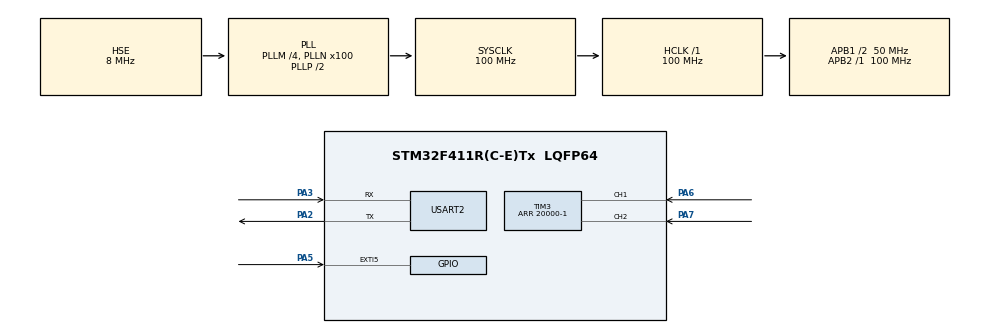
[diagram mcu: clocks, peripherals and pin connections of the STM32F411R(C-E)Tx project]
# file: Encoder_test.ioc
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Mcu.Family=STM32F4
Mcu.Name=STM32F411R(C-E)Tx
Mcu.Package=LQFP64
NVIC.EXTI9_5_IRQn=true\:0\:0\:false\:false\:true\:true\:true\:true
NVIC.PriorityGroup=NVIC_PRIORITYGROUP_4
NVIC.TIM3_IRQn=true\:0\:0\:false\:false\:true\:true\:true\:true
PA13.Mode=Serial_Wire
PA13.Signal=SYS_JTMS-SWDIO
PA14.Mode=Serial_Wire
PA14.Signal=SYS_JTCK-SWCLK
PA2.Mode=Asynchronous
PA2.Signal=USART2_TX
PA3.Mode=Asynchronous
PA3.Signal=USART2_RX
PA5.Signal=GPXTI5
PA6.Signal=S_TIM3_CH1
PA7.Signal=S_TIM3_CH2
PH0\ -\ OSC_IN.Mode=HSE-External-Oscillator
PH0\ -\ OSC_IN.Signal=RCC_OSC_IN
PH1\ -\ OSC_OUT.Mode=HSE-External-Oscillator
PH1\ -\ OSC_OUT.Signal=RCC_OSC_OUT
ProjectManager.HeapSize=0x200
ProjectManager.StackSize=0x400
ProjectManager.TargetToolchain=STM32CubeIDE
RCC.48MHZClocksFreq_Value=50000000
RCC.AHBFreq_Value=100000000
RCC.APB1CLKDivider=RCC_HCLK_DIV2
RCC.APB1Freq_Value=50000000
RCC.APB1TimFreq_Value=100000000
RCC.APB2Freq_Value=100000000
RCC.APB2TimFreq_Value=100000000
RCC.CortexFreq_Value=100000000
RCC.HCLKFreq_Value=100000000
RCC.HSE_VALUE=8000000
RCC.HSI_VALUE=16000000
RCC.LSE_VALUE=32768
RCC.PLLM=4
RCC.PLLN=100
RCC.PLLSourceVirtual=RCC_PLLSOURCE_HSE
RCC.SYSCLKFreq_VALUE=100000000
RCC.SYSCLKSource=RCC_SYSCLKSOURCE_PLLCLK
RCC.VCOOutputFreq_Value=200000000
SH.S_TIM3_CH1.0=TIM3_CH1,Encoder_Interface
SH.S_TIM3_CH2.0=TIM3_CH2,Encoder_Interface
TIM3.EncoderMode=TIM_ENCODERMODE_TI12
TIM3.IC1Filter=10
TIM3.IC1Polarity=TIM_ICPOLARITY_RISING
TIM3.IC2Polarity=TIM_ICPOLARITY_RISING
TIM3.Period=20000-1
USART2.VirtualMode=VM_ASYNC
board=custom

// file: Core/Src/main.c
/* USER CODE BEGIN Header */
/**
  ******************************************************************************
  * @file           : main.c
  * @brief          : Main program body
  ******************************************************************************
  * @attention
  *
  * Copyright (c) 2025 STMicroelectronics.
  * All rights reserved.
  *
  * This software is licensed under terms that can be found in the LICENSE file
  * in the root directory of this software component.
  * If no LICENSE file comes with this software, it is provided AS-IS.
  *
  ******************************************************************************
  */
/* USER CODE END Header */
#include "main.h"
#include "tim.h"
#include "usart.h"
#include "gpio.h"

/* USER CODE BEGIN PD */
#include <stdio.h>

//printf 사용하기 위한 코드

#ifdef __GNUC__
  /* GCC를 사용할 경우, 작은 printf(옵션 LD Linker->Libraries->Small printf를 'Yes'로 설정)에서 __io_putchar()를 호출 */
  #define PUTCHAR_PROTOTYPE int __io_putchar(int ch)
#else
  #define PUTCHAR_PROTOTYPE int fputc(int ch, FILE *f)
#endif /* __GNUC__ */

PUTCHAR_PROTOTYPE
{
  /* fputc의 구현을 여기에 작성. 문자를 쓰고 전송이 끝날 때까지 대기 */
  // uart2번을 사용했기 때문에 설정
  HAL_UART_Transmit(&huart2, (uint8_t *)&ch, 1, 0xFFFF);

  return ch;
}

// 엔코더의 최대 카운트 값
#define MAX_ENCODER_COUNT 19999

/* USER CODE END PD */

/* USER CODE BEGIN PV */

uint32_t initial_encoder_count = 0; // 초기 엔코더 위치
uint32_t current_encoder_count = 0; // 현재 엔코더 카운트 값
float angle = 0.0f;       // 계산된 각도

// 엔코더 카운트 값을 360도로 변환하는 함수
float calculate_angle(uint32_t current_count, uint32_t initial_count)
{
    // 카운트 차이 계산
    int32_t count_diff = current_count - initial_count;

    // 0에서 360도 범위로 변환
    // 카운트 차이를 MAX_ENCODER_COUNT로 나누어 360도를 곱함
    float angle = (float)count_diff / (float)MAX_ENCODER_COUNT * 360.0f;

    // 부호에 따라 범위 조정
    if (angle < 0)
    {
        angle += 360.0f;  // 360도 내로 값을 맞추기 위해 양수로 처리
    }

    return angle;
}

/* USER CODE END PV */

void SystemClock_Config(void);

int main(void)
{

  /* MCU Configuration--------------------------------------------------------*/

  /* Reset of all peripherals, Initializes the Flash interface and the Systick. */
  HAL_Init();

  /* Configure the system clock */
  SystemClock_Config();

  /* Initialize all configured peripherals */
  MX_GPIO_Init();
  MX_USART2_UART_Init();
  MX_TIM3_Init();
  /* USER CODE BEGIN 2 */
  HAL_TIM_Encoder_Start(&htim3, TIM_CHANNEL_ALL);
  /* USER CODE END 2 */

  /* Infinite loop */
  /* USER CODE BEGIN WHILE */
  while (1)
  {

      // 현재 엔코더 카운트 값 가져오기
      current_encoder_count = __HAL_TIM_GET_COUNTER(&htim3);

      // 각도 계산
      angle = calculate_angle(current_encoder_count, initial_encoder_count);

      // 계산된 각도 출력 (예시로 UART를 통해 출력)
      printf("Angle: %d\n", (int)angle);

      HAL_Delay(100); // 100ms 대기

    /* USER CODE END WHILE */

  }
}

void SystemClock_Config(void)
{
  RCC_OscInitTypeDef RCC_OscInitStruct = {0};
  RCC_ClkInitTypeDef RCC_ClkInitStruct = {0};

  /** Configure the main internal regulator output voltage
  */
  __HAL_RCC_PWR_CLK_ENABLE();
  __HAL_PWR_VOLTAGESCALING_CONFIG(PWR_REGULATOR_VOLTAGE_SCALE1);

  /** Initializes the RCC Oscillators according to the specified parameters
  * in the RCC_OscInitTypeDef structure.
  */
  RCC_OscInitStruct.OscillatorType = RCC_OSCILLATORTYPE_HSE;
  RCC_OscInitStruct.HSEState = RCC_HSE_ON;
  RCC_OscInitStruct.PLL.PLLState = RCC_PLL_ON;
  RCC_OscInitStruct.PLL.PLLSource = RCC_PLLSOURCE_HSE;
  RCC_OscInitStruct.PLL.PLLM = 4;
  RCC_OscInitStruct.PLL.PLLN = 100;
  RCC_OscInitStruct.PLL.PLLP = RCC_PLLP_DIV2;
  RCC_OscInitStruct.PLL.PLLQ = 4;
  if (HAL_RCC_OscConfig(&RCC_OscInitStruct) != HAL_OK)
  {
    Error_Handler();
  }

  /** Initializes the CPU, AHB and APB buses clocks
  */
  RCC_ClkInitStruct.ClockType = RCC_CLOCKTYPE_HCLK|RCC_CLOCKTYPE_SYSCLK
                              |RCC_CLOCKTYPE_PCLK1|RCC_CLOCKTYPE_PCLK2;
  RCC_ClkInitStruct.SYSCLKSource = RCC_SYSCLKSOURCE_PLLCLK;
  RCC_ClkInitStruct.AHBCLKDivider = RCC_SYSCLK_DIV1;
  RCC_ClkInitStruct.APB1CLKDivider = RCC_HCLK_DIV2;
  RCC_ClkInitStruct.APB2CLKDivider = RCC_HCLK_DIV1;

  if (HAL_RCC_ClockConfig(&RCC_ClkInitStruct, FLASH_LATENCY_3) != HAL_OK)
  {
    Error_Handler();
  }
}

void Error_Handler(void)
{
  __disable_irq();
  while (1)
  {
  }
}
